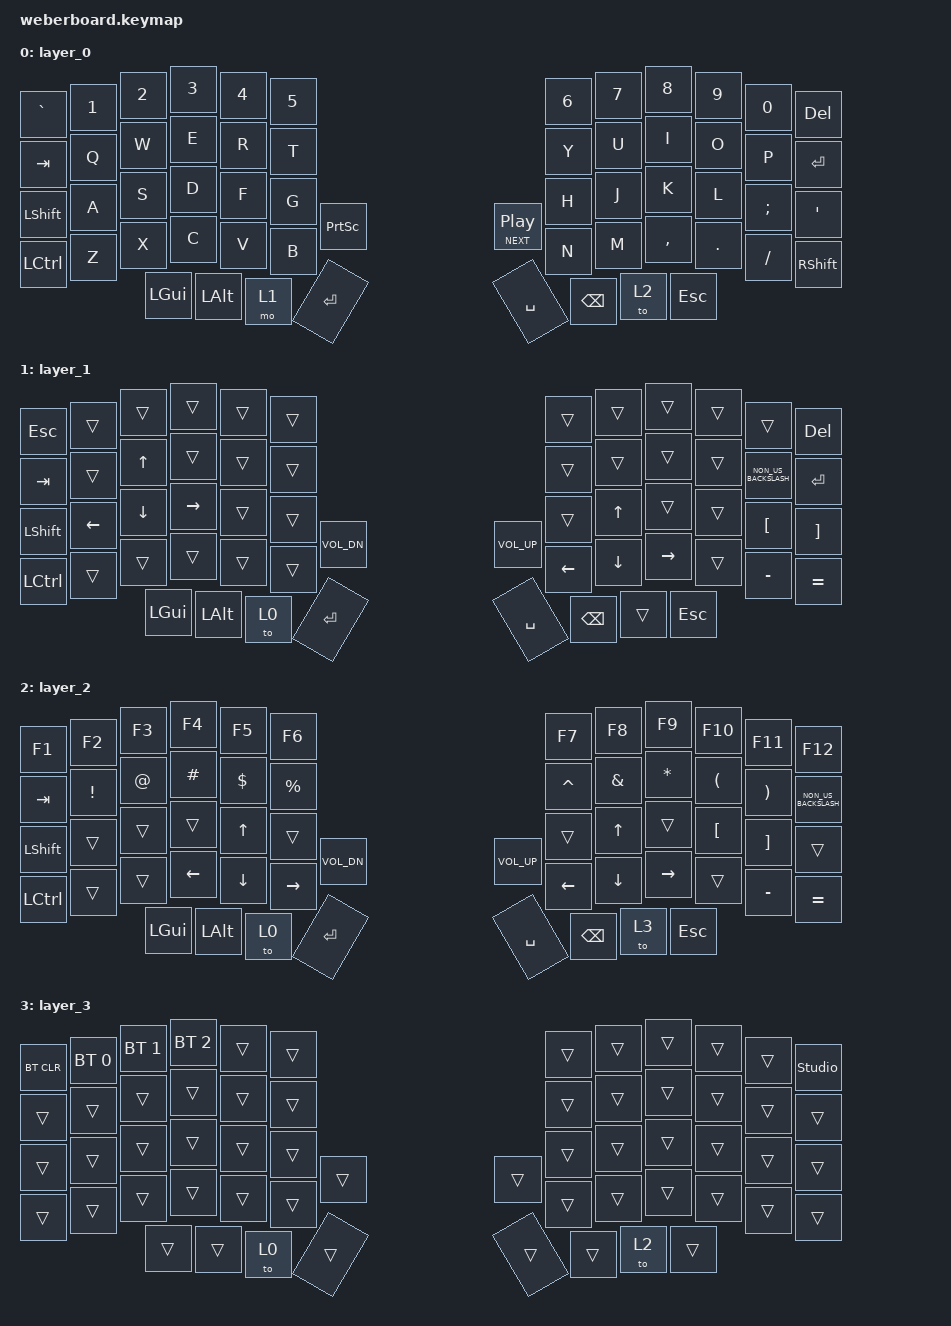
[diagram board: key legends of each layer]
#include <behaviors.dtsi>
#include <dt-bindings/zmk/bt.h>
#include <dt-bindings/zmk/keys.h>

/ {
    keymap {
        compatible = "zmk,keymap";

        layer_0 {
            bindings = <
                &kp GRAVE         &kp NUMBER_1  &kp NUMBER_2  &kp NUMBER_3  &kp NUMBER_4  &kp N5  &kp N6 &kp N7 &kp N8 &kp N9 &kp N0 &kp DEL
                &kp TAB           &kp Q         &kp W         &kp E         &kp R         &kp T  &kp Y  &kp U  &kp I  &kp O  &kp P  &kp ENTER
                &kp LEFT_SHIFT    &kp A         &kp S         &kp D         &kp F         &kp G  &kp H  &kp J  &kp K  &kp L  &kp SEMICOLON  &kp SQT
                &kp LEFT_CONTROL  &kp Z         &kp X         &kp C         &kp V         &kp B  &kp N  &kp M  &kp COMMA &kp PERIOD &kp SLASH  &kp RIGHT_SHIFT
                  &kp LEFT_GUI  &kp LEFT_ALT  &mo 1 &kp ENTER &kp PRINTSCREEN &mt C_NEXT C_PLAY_PAUSE &kp SPACE &kp BACKSPACE &to 2 &kp ESCAPE 
            >;
        };

        layer_1 {
            bindings = <
            &kp ESCAPE  &trans  &trans  &trans  &trans  &trans                    &trans  &trans  &trans  &trans  &trans  &kp DEL
            &kp TAB      &trans        &kp UP_ARROW        &trans        &trans  &trans                    &trans  &trans  &trans  &trans  &kp NON_US_BACKSLASH  &kp ENTER
            &kp LEFT_SHIFT      &kp LEFT_ARROW        &kp DOWN        &kp RIGHT        &trans  &trans                    &trans  &kp UP_ARROW  &trans  &trans  &kp LEFT_BRACKET  &kp RIGHT_BRACKET
            &kp LEFT_CONTROL      &trans        &trans        &trans        &trans  &trans                    &kp LEFT_ARROW  &kp DOWN  &kp RIGHT  &trans  &kp MINUS  &kp EQUAL
                                      &kp LEFT_GUI        &kp LEFT_ALT        &to 0   &kp ENTER    &kp C_VOL_DN  &kp C_VOLUME_UP  &kp SPACE &kp BACKSPACE &trans &kp ESCAPE
            >;
        };

        layer_2 {
            bindings = <
            &kp F1            &kp F2    &kp F3  &kp F4        &kp F5        &kp F6                                        &kp F7          &kp F8        &kp F9      &kp F10               &kp F11                &kp F12
&kp TAB           &kp EXCL  &kp AT  &kp HASH      &kp DOLLAR    &kp PERCENT                                   &kp CARET       &kp AMPS      &kp ASTRK   &kp LEFT_PARENTHESIS  &kp RIGHT_PARENTHESIS  &kp NON_US_BACKSLASH
&kp LSHIFT        &trans    &trans  &trans        &kp UP_ARROW  &trans                                        &trans          &kp UP_ARROW  &trans      &kp LEFT_BRACKET      &kp RIGHT_BRACKET      &trans
&kp LEFT_CONTROL  &trans    &trans  &kp LEFT      &kp DOWN      &kp RIGHT          &kp LEFT_ARROW  &kp DOWN      &kp RIGHT   &trans                &kp MINUS              &kp EQUAL
                                    &kp LEFT_GUI  &kp LEFT_ALT  &to 0        &kp ENTER  &kp C_VOL_DN  &kp C_VOLUME_UP     &kp SPACE      &kp BACKSPACE  &to 3        &kp ESCAPE
            >;
        };

        layer_3 {
            bindings = <
            &bt BT_CLR  &bt BT_SEL 0  &bt BT_SEL 1  &bt BT_SEL 2  &trans  &trans                    &trans  &trans  &trans  &trans  &trans  &studio_unlock
            &trans      &trans        &trans        &trans        &trans  &trans                    &trans  &trans  &trans  &trans  &trans  &trans
            &trans      &trans        &trans        &trans        &trans  &trans                    &trans  &trans  &trans  &trans  &trans  &trans
            &trans      &trans        &trans        &trans        &trans  &trans                    &trans  &trans  &trans  &trans  &trans  &trans
                                      &trans        &trans        &to 0   &trans    &trans  &trans  &trans  &trans  &to 2  &trans
            >;
        };

    };
};
